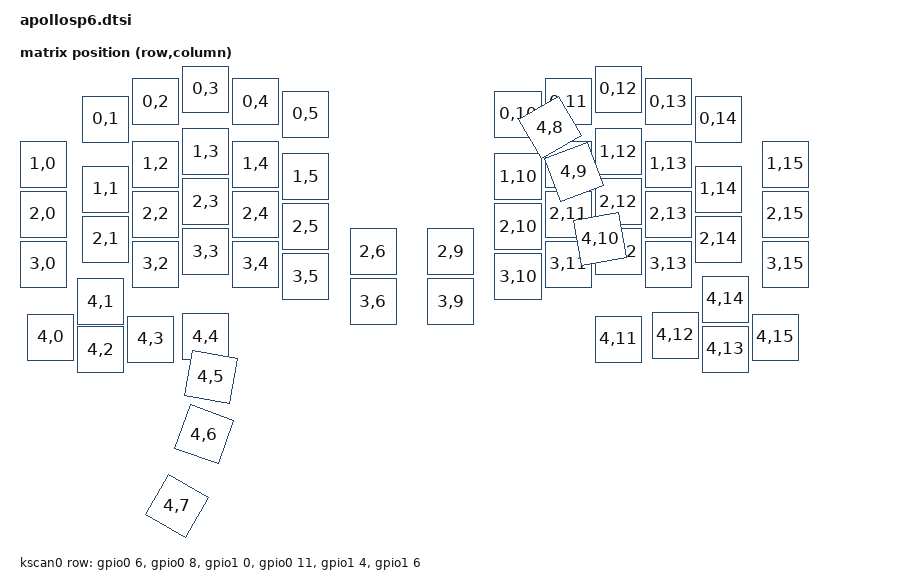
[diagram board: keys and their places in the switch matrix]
#include <dt-bindings/zmk/matrix_transform.h>
#include <physical_layouts.dtsi>
#include <dt-bindings/zmk/mouse.h>

/ {
    chosen {
        zmk,kscan = &kscan0;
        zmk,physical-layout = &physical_layout0;
    };

    physical_layout0: physical_layout0 {
        compatible = "zmk,physical-layout";
        display-name = "Default Layout";
        transform = <&default_transform>;
        keys  //                     w   h    x    y     rot    rx    ry
            = <&key_physical_attrs 100 100  125   35       0     0     0>  // 1
            , <&key_physical_attrs 100 100  225    0       0     0     0>  // 2
            , <&key_physical_attrs 100 100  325 (-25)      0     0     0>  // 3
            , <&key_physical_attrs 100 100  425    0       0     0     0>  // 4
            , <&key_physical_attrs 100 100  525   25       0     0     0>  // 5
            , <&key_physical_attrs 100 100  950   25       0     0     0>  // 6
            , <&key_physical_attrs 100 100 1050    0       0     0     0>  // 7
            , <&key_physical_attrs 100 100 1150 (-25)      0     0     0>  // 8
            , <&key_physical_attrs 100 100 1250    0       0     0     0>  // 9
            , <&key_physical_attrs 100 100 1350   35       0     0     0>  // 0

            , <&key_physical_attrs 100 100    0  125       0     0     0>  // Esc
            , <&key_physical_attrs 100 100  125  175       0     0     0>  // Q
            , <&key_physical_attrs 100 100  225  125       0     0     0>  // W
            , <&key_physical_attrs 100 100  325  100       0     0     0>  // E
            , <&key_physical_attrs 100 100  425  125       0     0     0>  // R
            , <&key_physical_attrs 100 100  525  150       0     0     0>  // T
            , <&key_physical_attrs 100 100  950  150       0     0     0>  // Y
            , <&key_physical_attrs 100 100 1050  125       0     0     0>  // U
            , <&key_physical_attrs 100 100 1150  100       0     0     0>  // I
            , <&key_physical_attrs 100 100 1250  125       0     0     0>  // O
            , <&key_physical_attrs 100 100 1350  175       0     0     0>  // P
            , <&key_physical_attrs 100 100 1485  125       0     0     0>  // Bksp

            , <&key_physical_attrs 100 100    0  225       0     0     0>  // Caps
            , <&key_physical_attrs 100 100  125  275       0     0     0>  // A
            , <&key_physical_attrs 100 100  225  225       0     0     0>  // S
            , <&key_physical_attrs 100 100  325  200       0     0     0>  // D
            , <&key_physical_attrs 100 100  425  225       0     0     0>  // F
            , <&key_physical_attrs 100 100  525  250       0     0     0>  // G
            , <&key_physical_attrs 100 100  660  300       0     0     0>  // Bksp
            , <&key_physical_attrs 100 100  815  300       0     0     0>  // M0
            , <&key_physical_attrs 100 100  950  250       0     0     0>  // H
            , <&key_physical_attrs 100 100 1050  225       0     0     0>  // J
            , <&key_physical_attrs 100 100 1150  200       0     0     0>  // K
            , <&key_physical_attrs 100 100 1250  225       0     0     0>  // L
            , <&key_physical_attrs 100 100 1350  275       0     0     0>  // ]
            , <&key_physical_attrs 100 100 1485  225       0     0     0>  // -

            , <&key_physical_attrs 100 100    0  325       0     0     0>  // Shift
            , <&key_physical_attrs 100 100  225  325       0     0     0>  // Z
            , <&key_physical_attrs 100 100  325  300       0     0     0>  // X
            , <&key_physical_attrs 100 100  425  325       0     0     0>  // C
            , <&key_physical_attrs 100 100  525  350       0     0     0>  // V
            , <&key_physical_attrs 100 100  660  400       0     0     0>  // Enter
            , <&key_physical_attrs 100 100  815  400       0     0     0>  // M1
            , <&key_physical_attrs 100 100  950  350       0     0     0>  // B
            , <&key_physical_attrs 100 100 1050  325       0     0     0>  // N
            , <&key_physical_attrs 100 100 1150  300       0     0     0>  // M
            , <&key_physical_attrs 100 100 1250  325       0     0     0>  // [
            , <&key_physical_attrs 100 100 1485  325       0     0     0>  // Enter

            , <&key_physical_attrs 100 100   15  471       0     0     0>  // ◀
            , <&key_physical_attrs 100 100  115  400       0     0     0>  // ▲
            , <&key_physical_attrs 100 100  115  496       0     0     0>  // ▼
            , <&key_physical_attrs 100 100  215  475       0     0     0>  // ▶
            , <&key_physical_attrs 100 100  325  470       0     0     0>  // Ctrl
            , <&key_physical_attrs 100 100  435  475    1000     0     0>  // Tab
            , <&key_physical_attrs 100 100  545  495    2000     0     0>  // Alt
            , <&key_physical_attrs 100 100  655  535    3000     0     0>  // ␣
            , <&key_physical_attrs 100 100  820  570 (-3000)     0     0>  // 無
            , <&key_physical_attrs 100 100  930  510 (-2000)     0     0>  // Win
            , <&key_physical_attrs 100 100 1040  472 (-1000)     0     0>  // ,
            , <&key_physical_attrs 100 100 1150  475       0     0     0>  // .
            , <&key_physical_attrs 100 100 1265  467       0     0     0>  // ◀
            , <&key_physical_attrs 100 100 1365  495       0     0     0>  // ▼
            , <&key_physical_attrs 100 100 1365  395       0     0     0>  // ▲
            , <&key_physical_attrs 100 100 1465  471       0     0     0>; // ▶
    };



    default_transform: keymap_transform0 {
        compatible = "zmk,matrix-transform";
        columns = <16>;
        rows = <6>;
        map = <
                    RC(0,1) RC(0,2) RC(0,3) RC(0,4) RC(0,5)                                    RC(0,10) RC(0,11) RC(0,12) RC(0,13) RC(0,14)
            RC(1,0) RC(1,1) RC(1,2) RC(1,3) RC(1,4) RC(1,5)                                    RC(1,10) RC(1,11) RC(1,12) RC(1,13) RC(1,14) RC(1,15)
            RC(2,0) RC(2,1) RC(2,2) RC(2,3) RC(2,4) RC(2,5) RC(2,6)                    RC(2,9) RC(2,10) RC(2,11) RC(2,12) RC(2,13) RC(2,14) RC(2,15)
            RC(3,0)         RC(3,2) RC(3,3) RC(3,4) RC(3,5) RC(3,6)                    RC(3,9) RC(3,10) RC(3,11) RC(3,12) RC(3,13)          RC(3,15)
            RC(4,0) RC(4,1) RC(4,2) RC(4,3) RC(4,4) RC(4,5) RC(4,6) RC(4,7)    RC(4,8) RC(4,9) RC(4,10) RC(4,11) RC(4,12) RC(4,13) RC(4,14) RC(4,15)
        >;
    };

    kscan0: kscan {
        compatible = "zmk,kscan-gpio-matrix";
        wakeup-source;
        diode-direction = "col2row";
        row-gpios
            = <&gpio0 6  (GPIO_ACTIVE_LOW | GPIO_PULL_UP)>   // R0 006
            , <&gpio0 8  (GPIO_ACTIVE_LOW | GPIO_PULL_UP)>   // R1 008
            , <&gpio1 0  (GPIO_ACTIVE_LOW | GPIO_PULL_UP)>   // R2 100
            , <&gpio0 11 (GPIO_ACTIVE_LOW | GPIO_PULL_UP)>   // R3 011
            , <&gpio1 4  (GPIO_ACTIVE_LOW | GPIO_PULL_UP)>   // R4 104
            , <&gpio1 6  (GPIO_ACTIVE_LOW | GPIO_PULL_UP)>;  // R5 106
    };



    vbatt: vbatt {
        compatible = "zmk,battery-nrf-vddh";
        status = "okay";
    };

};



